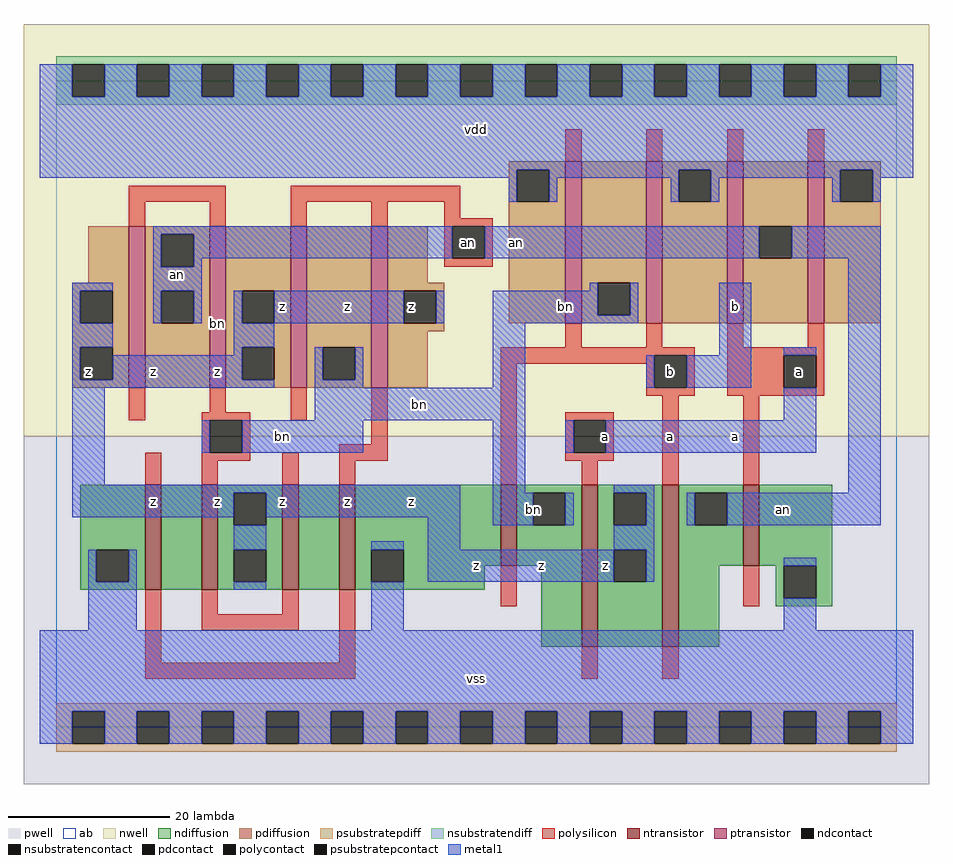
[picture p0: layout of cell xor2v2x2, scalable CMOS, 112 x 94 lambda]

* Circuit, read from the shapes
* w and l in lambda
.subckt xor2v2x2 a an b bn vdd vss z
M1 n1 an vss vss nfet w=13 l=2
M2 z bn n1 vss nfet w=13 l=2
M3 n2 bn z vss nfet w=13 l=2
M4 vss an n2 vss nfet w=13 l=2
M5 bn b vss vss nfet w=10 l=2
M6 z a bn vss nfet w=20 l=2
M7 an b z vss nfet w=20 l=2
M8 vss a an vss nfet w=10 l=2
M9 an bn z vdd pfet w=20 l=2 m=2
M10 bn an z vdd pfet w=20 l=2 m=2
M11 bn b vdd vdd pfet w=20 l=2 m=2
M12 an a vdd vdd pfet w=20 l=2 m=2
.ends

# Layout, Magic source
magic
tech scmos
<< ab >>
rect 0 0 104 80
<< pwell >>
rect -4 -7 108 36
<< nwell >>
rect -4 36 108 87
<< polysilicon >>
rect 63 70 65 74
rect 73 70 75 74
rect 83 70 85 74
rect 93 70 95 74
rect 9 65 21 67
rect 9 62 11 65
rect 19 62 21 65
rect 29 65 50 67
rect 29 62 31 65
rect 39 62 41 65
rect 48 63 50 65
rect 48 62 54 63
rect 48 58 49 62
rect 53 58 54 62
rect 48 57 54 58
rect 63 47 65 50
rect 73 47 75 50
rect 83 47 85 50
rect 93 47 95 50
rect 55 46 79 47
rect 55 45 74 46
rect 9 38 11 42
rect 19 39 21 42
rect 18 38 24 39
rect 29 38 31 42
rect 18 34 19 38
rect 23 34 24 38
rect 39 35 41 42
rect 11 30 13 34
rect 18 33 24 34
rect 18 30 20 33
rect 28 30 30 34
rect 35 33 41 35
rect 35 30 37 33
rect 55 30 57 45
rect 73 42 74 45
rect 78 42 79 46
rect 73 41 79 42
rect 83 46 95 47
rect 83 42 90 46
rect 94 42 95 46
rect 83 41 95 42
rect 63 38 69 39
rect 63 34 64 38
rect 68 34 69 38
rect 63 33 69 34
rect 65 30 67 33
rect 75 30 77 41
rect 85 30 87 41
rect 11 8 13 17
rect 18 14 20 17
rect 28 14 30 17
rect 18 12 30 14
rect 35 8 37 17
rect 55 15 57 20
rect 85 15 87 20
rect 11 6 37 8
rect 65 6 67 10
rect 75 6 77 10
<< ndiffusion >>
rect 3 22 11 30
rect 3 18 5 22
rect 9 18 11 22
rect 3 17 11 18
rect 13 17 18 30
rect 20 29 28 30
rect 20 25 22 29
rect 26 25 28 29
rect 20 22 28 25
rect 20 18 22 22
rect 26 18 28 22
rect 20 17 28 18
rect 30 17 35 30
rect 37 22 55 30
rect 37 18 39 22
rect 43 20 55 22
rect 57 29 65 30
rect 57 25 59 29
rect 63 25 65 29
rect 57 20 65 25
rect 43 18 53 20
rect 37 17 53 18
rect 60 10 65 20
rect 67 29 75 30
rect 67 25 69 29
rect 73 25 75 29
rect 67 22 75 25
rect 67 18 69 22
rect 73 18 75 22
rect 67 10 75 18
rect 77 29 85 30
rect 77 25 79 29
rect 83 25 85 29
rect 77 20 85 25
rect 87 20 96 30
rect 77 10 82 20
rect 89 16 90 20
rect 94 16 96 20
rect 89 15 96 16
<< pdiffusion >>
rect 56 69 63 70
rect 56 65 57 69
rect 61 65 63 69
rect 4 55 9 62
rect 2 54 9 55
rect 2 50 3 54
rect 7 50 9 54
rect 2 47 9 50
rect 2 43 3 47
rect 7 43 9 47
rect 2 42 9 43
rect 11 61 19 62
rect 11 57 13 61
rect 17 57 19 61
rect 11 54 19 57
rect 11 50 13 54
rect 17 50 19 54
rect 11 42 19 50
rect 21 54 29 62
rect 21 50 23 54
rect 27 50 29 54
rect 21 47 29 50
rect 21 43 23 47
rect 27 43 29 47
rect 21 42 29 43
rect 31 47 39 62
rect 31 43 33 47
rect 37 43 39 47
rect 31 42 39 43
rect 41 55 46 62
rect 41 54 48 55
rect 41 50 43 54
rect 47 50 48 54
rect 56 50 63 65
rect 65 55 73 70
rect 65 51 67 55
rect 71 51 73 55
rect 65 50 73 51
rect 75 69 83 70
rect 75 65 77 69
rect 81 65 83 69
rect 75 50 83 65
rect 85 62 93 70
rect 85 58 87 62
rect 91 58 93 62
rect 85 50 93 58
rect 95 69 102 70
rect 95 65 97 69
rect 101 65 102 69
rect 95 50 102 65
rect 41 49 48 50
rect 41 42 46 49
<< metal1 >>
rect -2 78 2 82
rect 6 78 10 82
rect 14 78 18 82
rect 22 78 26 82
rect 30 78 34 82
rect 38 78 42 82
rect 46 78 50 82
rect 54 78 58 82
rect 62 78 66 82
rect 70 78 74 82
rect 78 78 82 82
rect 86 78 90 82
rect 94 78 98 82
rect 102 78 106 82
rect -2 69 106 78
rect -2 68 57 69
rect 56 65 57 68
rect 61 68 77 69
rect 61 65 62 68
rect 76 65 77 68
rect 81 68 97 69
rect 81 65 82 68
rect 96 65 97 68
rect 101 68 106 69
rect 101 65 102 68
rect 12 61 49 62
rect 12 57 13 61
rect 17 58 49 61
rect 53 58 87 62
rect 91 58 102 62
rect 17 57 18 58
rect 2 54 7 55
rect 2 50 3 54
rect 12 54 18 57
rect 66 54 67 55
rect 12 50 13 54
rect 17 50 18 54
rect 22 50 23 54
rect 27 50 43 54
rect 47 50 48 54
rect 54 51 67 54
rect 71 51 72 55
rect 54 50 72 51
rect 2 47 7 50
rect 2 43 3 47
rect 22 47 27 50
rect 22 46 23 47
rect 7 43 23 46
rect 2 42 27 43
rect 32 43 33 47
rect 37 43 38 47
rect 32 42 38 43
rect 54 42 58 50
rect 82 46 86 55
rect 73 42 74 46
rect 78 42 86 46
rect 90 46 94 47
rect 2 30 6 42
rect 32 38 58 42
rect 90 38 94 42
rect 18 34 19 38
rect 23 34 38 38
rect 2 29 50 30
rect 2 26 22 29
rect 26 26 50 29
rect 22 22 26 25
rect 4 18 5 22
rect 9 18 10 22
rect 4 12 10 18
rect 22 17 26 18
rect 39 22 43 23
rect 46 22 50 26
rect 54 29 58 38
rect 63 34 64 38
rect 68 34 94 38
rect 69 29 74 30
rect 98 29 102 58
rect 54 25 59 29
rect 63 25 64 29
rect 73 25 74 29
rect 78 25 79 29
rect 83 25 102 29
rect 69 22 74 25
rect 46 18 69 22
rect 73 18 74 22
rect 90 20 94 21
rect 39 12 43 18
rect 90 12 94 16
rect -2 2 106 12
rect -2 -2 2 2
rect 6 -2 10 2
rect 14 -2 18 2
rect 22 -2 26 2
rect 30 -2 34 2
rect 38 -2 42 2
rect 46 -2 50 2
rect 54 -2 58 2
rect 62 -2 66 2
rect 70 -2 74 2
rect 78 -2 82 2
rect 86 -2 90 2
rect 94 -2 98 2
rect 102 -2 106 2
<< ntransistor >>
rect 11 17 13 30
rect 18 17 20 30
rect 28 17 30 30
rect 35 17 37 30
rect 55 20 57 30
rect 65 10 67 30
rect 75 10 77 30
rect 85 20 87 30
<< ptransistor >>
rect 9 42 11 62
rect 19 42 21 62
rect 29 42 31 62
rect 39 42 41 62
rect 63 50 65 70
rect 73 50 75 70
rect 83 50 85 70
rect 93 50 95 70
<< polycontact >>
rect 49 58 53 62
rect 19 34 23 38
rect 74 42 78 46
rect 90 42 94 46
rect 64 34 68 38
<< ndcontact >>
rect 5 18 9 22
rect 22 25 26 29
rect 22 18 26 22
rect 39 18 43 22
rect 59 25 63 29
rect 69 25 73 29
rect 69 18 73 22
rect 79 25 83 29
rect 90 16 94 20
<< pdcontact >>
rect 57 65 61 69
rect 3 50 7 54
rect 3 43 7 47
rect 13 57 17 61
rect 13 50 17 54
rect 23 50 27 54
rect 23 43 27 47
rect 33 43 37 47
rect 43 50 47 54
rect 67 51 71 55
rect 77 65 81 69
rect 87 58 91 62
rect 97 65 101 69
<< psubstratepcontact >>
rect 2 -2 6 2
rect 10 -2 14 2
rect 18 -2 22 2
rect 26 -2 30 2
rect 34 -2 38 2
rect 42 -2 46 2
rect 50 -2 54 2
rect 58 -2 62 2
rect 66 -2 70 2
rect 74 -2 78 2
rect 82 -2 86 2
rect 90 -2 94 2
rect 98 -2 102 2
<< nsubstratencontact >>
rect 2 78 6 82
rect 10 78 14 82
rect 18 78 22 82
rect 26 78 30 82
rect 34 78 38 82
rect 42 78 46 82
rect 50 78 54 82
rect 58 78 62 82
rect 66 78 70 82
rect 74 78 78 82
rect 82 78 86 82
rect 90 78 94 82
rect 98 78 102 82
<< psubstratepdiff >>
rect 0 2 104 3
rect 0 -2 2 2
rect 6 -2 10 2
rect 14 -2 18 2
rect 22 -2 26 2
rect 30 -2 34 2
rect 38 -2 42 2
rect 46 -2 50 2
rect 54 -2 58 2
rect 62 -2 66 2
rect 70 -2 74 2
rect 78 -2 82 2
rect 86 -2 90 2
rect 94 -2 98 2
rect 102 -2 104 2
rect 0 -3 104 -2
<< nsubstratendiff >>
rect 0 82 104 83
rect 0 78 2 82
rect 6 78 10 82
rect 14 78 18 82
rect 22 78 26 82
rect 30 78 34 82
rect 38 78 42 82
rect 46 78 50 82
rect 54 78 58 82
rect 62 78 66 82
rect 70 78 74 82
rect 78 78 82 82
rect 86 78 90 82
rect 94 78 98 82
rect 102 78 104 82
rect 0 77 104 78
<< labels >>
rlabel ptransistor 20 50 20 50 6 bn
rlabel polycontact 51 60 51 60 6 an
rlabel metal1 12 28 12 28 6 z
rlabel pdcontact 4 44 4 44 6 z
rlabel metal1 12 44 12 44 6 z
rlabel metal1 15 56 15 56 6 an
rlabel metal1 20 28 20 28 6 z
rlabel metal1 28 28 28 28 6 z
rlabel metal1 36 28 36 28 6 z
rlabel metal1 20 44 20 44 6 z
rlabel metal1 28 36 28 36 6 bn
rlabel metal1 28 52 28 52 6 z
rlabel metal1 36 52 36 52 6 z
rlabel metal1 52 6 52 6 6 vss
rlabel metal1 44 28 44 28 6 z
rlabel metal1 60 20 60 20 6 z
rlabel metal1 52 20 52 20 6 z
rlabel metal1 45 40 45 40 6 bn
rlabel pdcontact 44 52 44 52 6 z
rlabel metal1 52 74 52 74 6 vdd
rlabel metal1 59 27 59 27 6 bn
rlabel metal1 68 20 68 20 6 z
rlabel metal1 76 36 76 36 6 a
rlabel metal1 68 36 68 36 6 a
rlabel polycontact 76 44 76 44 6 b
rlabel metal1 63 52 63 52 6 bn
rlabel metal1 90 27 90 27 6 an
rlabel metal1 84 36 84 36 6 a
rlabel polycontact 92 44 92 44 6 a
rlabel metal1 84 52 84 52 6 b
rlabel metal1 57 60 57 60 6 an
<< end >>
